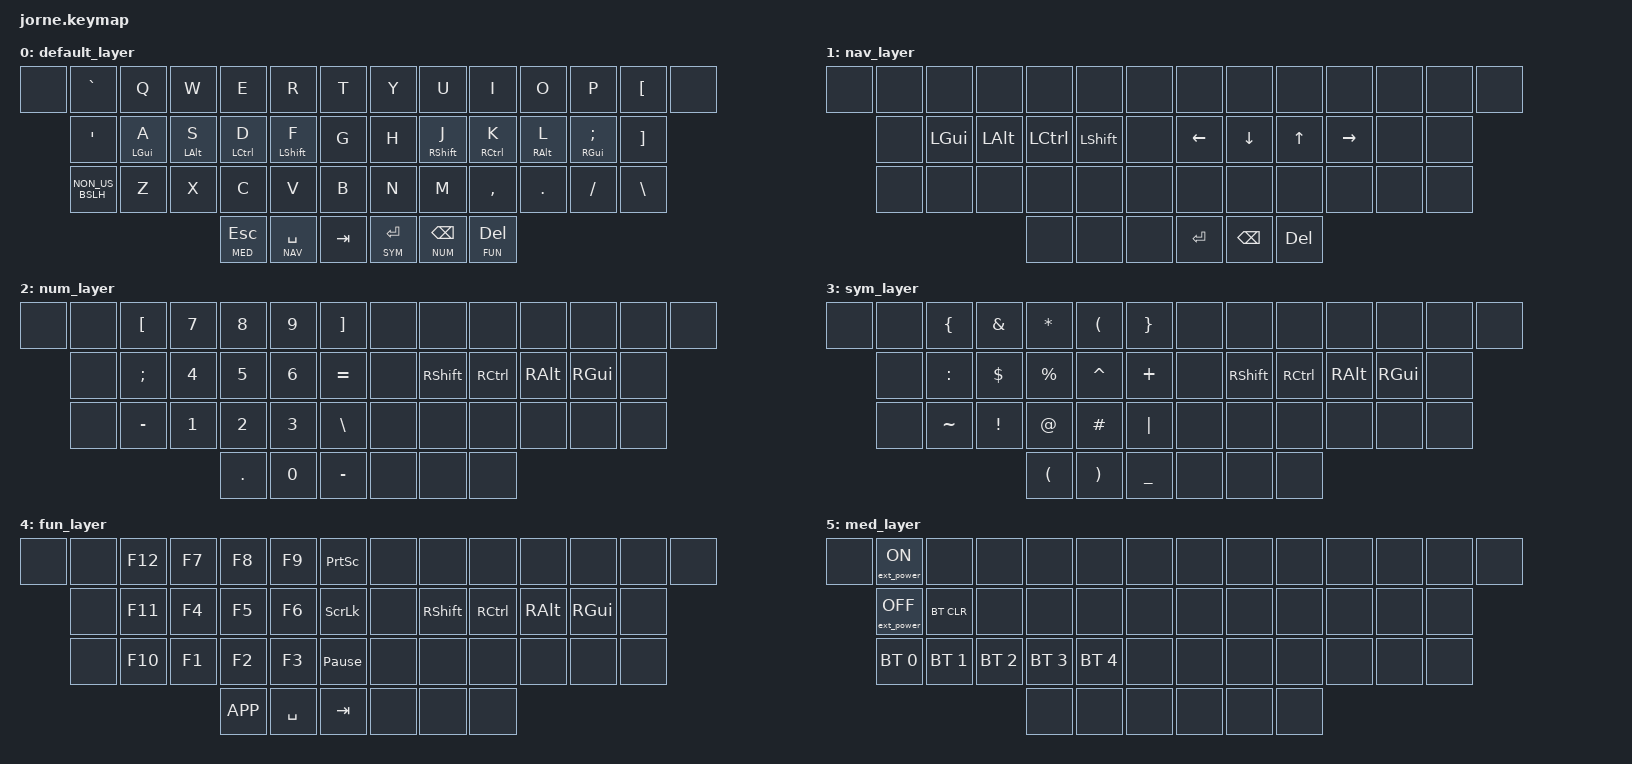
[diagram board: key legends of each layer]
/*
 * Copyright (c) 2020 The ZMK Contributor
 *
 * SPDX-License-Identifier: MIT
 */
#include <dt-bindings/zmk/bt.h>
#include <dt-bindings/zmk/ext_power.h>
#include <behaviors.dtsi>
#include <dt-bindings/zmk/keys.h>
#include <dt-bindings/zmk/bt.h>

#define DEF 0
#define NAV 1
#define NUM 2
#define SYM 3
#define FUN 4
#define MED 5

/ {
        behaviors {
          hot: hold_tap {
                      compatible = "zmk,behavior-hold-tap";
                      label = "HOLD-TAP";
                      #binding-cells = <2>;
                      tapping-term-ms = <200>;
                      quick_tap_ms = <250>;
                      flavor = "balanced";
                      bindings = <&kp>, <&kp>;
                  };
        };

        keymap {
                compatible = "zmk,keymap";

                default_layer {
                        bindings = <
&none &kp GRAVE       &kp Q       &kp W       &kp E        &kp R         &kp T       &kp Y       &kp U        &kp I        &kp O       &kp P          &kp LBKT &none
      &kp SQT         &hot LGUI A &hot LALT S &hot LCTRL D &hot LSHFT F  &kp G       &kp H       &hot RSHFT J &hot RCTRL K &hot RALT L &hot RGUI SEMI &kp RBKT
      &kp NON_US_BSLH &kp Z       &kp X       &kp C        &kp V         &kp B       &kp N       &kp M        &kp COMMA    &kp DOT     &kp FSLH       &kp BSLH
                                              &lt MED ESC  &lt NAV SPACE &kp TAB     &lt SYM RET &lt NUM BSPC &lt FUN DEL
                        >;
                };

                nav_layer {
                        bindings = <
&none &none &none    &none    &none     &none     &none     &none    &none    &none   &none     &none &none &none
      &none &kp LGUI &kp LALT &kp LCTRL &kp LSHFT &none     &kp LEFT &kp DOWN &kp UP  &kp RIGHT &none &none
      &none &none    &none    &none     &none     &none     &none    &none    &none   &none     &none &none
                              &none     &none     &none     &kp RET  &kp BSPC &kp DEL
                        >;
                };

                num_layer {
                        bindings = <
&none &none &kp LBKT  &kp N7 &kp N8  &kp N9 &kp RBKT       &none &none     &none    &none     &none    &none &none
      &none &kp SEMI  &kp N4 &kp N5  &kp N6 &kp EQUAL      &none &kp RSHFT &kp RCTRL &kp RALT &kp RGUI &none
      &none &kp MINUS &kp N1 &kp N2  &kp N3 &kp BSLH       &none &none     &none    &none     &none    &none
                             &kp DOT &kp N0 &kp MINUS      &none &none     &none
                        >;
                };

                sym_layer {
                        bindings = <
&none &none &kp LBRC  &kp AMPS &kp ASTRK &kp LPAR  &kp RBRC       &none &none     &none     &none    &none    &none &none
      &none &kp COLON &kp DLLR &kp PRCNT &kp CARET &kp PLUS       &none &kp RSHFT &kp RCTRL &kp RALT &kp RGUI &none
      &none &kp TILDE &kp EXCL &kp AT    &kp HASH  &kp PIPE       &none &none     &none     &none    &none    &none
                               &kp LPAR  &kp RPAR  &kp UNDER      &none &none     &none
                        >;
                };

                fun_layer {
                        bindings = <
&none &none &kp F12 &kp F7 &kp F8    &kp F9    &kp PSCRN              &none &none     &none     &none    &none    &none &none
      &none &kp F11 &kp F4 &kp F5    &kp F6    &kp SLCK               &none &kp RSHFT &kp RCTRL &kp RALT &kp RGUI &none
      &none &kp F10 &kp F1 &kp F2    &kp F3    &kp PAUSE_BREAK        &none &none     &none     &none    &none    &none
                           &kp K_APP &kp SPACE &kp TAB                &none &none     &none
                        >;
                };

                med_layer {
                        bindings = <
&none &ext_power EP_ON &none &none &none &none &none   &none &none &none &none &none &none &none
      &ext_power EP_OFF &bt BT_CLR &none &none &none &none   &none &none &none &none &none &none
      &bt BT_SEL 0 &bt BT_SEL 1 &bt BT_SEL 2 &bt BT_SEL 3 &bt BT_SEL 4 &none   &none &none &none &none &none &none
                        &none &none &none   &none &none &none
                        >;
                };
        };
};
